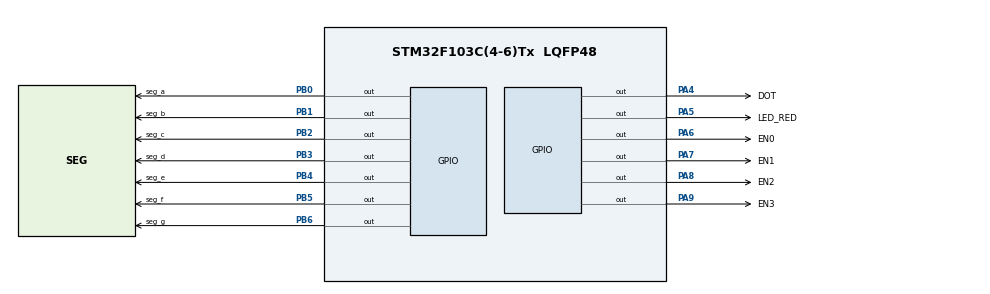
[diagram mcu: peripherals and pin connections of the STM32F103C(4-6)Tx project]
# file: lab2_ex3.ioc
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Mcu.Family=STM32F1
Mcu.Name=STM32F103C(4-6)Tx
Mcu.Package=LQFP48
NVIC.PriorityGroup=NVIC_PRIORITYGROUP_4
NVIC.TIM2_IRQn=true\:0\:0\:false\:false\:true\:true\:true\:true
PA4.GPIO_Label=DOT
PA4.Signal=GPIO_Output
PA5.GPIO_Label=LED_RED
PA5.Signal=GPIO_Output
PA6.GPIO_Label=EN0
PA6.Signal=GPIO_Output
PA7.GPIO_Label=EN1
PA7.Signal=GPIO_Output
PA8.GPIO_Label=EN2
PA8.Signal=GPIO_Output
PA9.GPIO_Label=EN3
PA9.Signal=GPIO_Output
PB0.GPIO_Label=seg_a
PB0.Signal=GPIO_Output
PB1.GPIO_Label=seg_b
PB1.Signal=GPIO_Output
PB2.GPIO_Label=seg_c
PB2.Signal=GPIO_Output
PB3.GPIO_Label=seg_d
PB3.Signal=GPIO_Output
PB4.GPIO_Label=seg_e
PB4.Signal=GPIO_Output
PB5.GPIO_Label=seg_f
PB5.Signal=GPIO_Output
PB6.GPIO_Label=seg_g
PB6.Signal=GPIO_Output
ProjectManager.HeapSize=0x200
ProjectManager.StackSize=0x400
ProjectManager.TargetToolchain=STM32CubeIDE
RCC.APB1Freq_Value=8000000
RCC.APB2Freq_Value=8000000
TIM1.Period=9
TIM1.Prescaler=7999
TIM2.Period=9
TIM2.Prescaler=7999
VP_TIM1_VS_ClockSourceINT.Mode=Internal
VP_TIM2_VS_ClockSourceINT.Mode=Internal
board=custom

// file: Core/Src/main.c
/* USER CODE BEGIN Header */
/**
 ******************************************************************************
 * @file           : main.c
 * @brief          : Main program body
 ******************************************************************************
 * @attention
 *
 * Copyright (c) 2022 STMicroelectronics.
 * All rights reserved.
 *
 * This software is licensed under terms that can be found in the LICENSE file
 * in the root directory of this software component.
 * If no LICENSE file comes with this software, it is provided AS-IS.
 *
 ******************************************************************************
 */
/* USER CODE END Header */
#include "main.h"

/* USER CODE BEGIN Includes */
#include "software_timer.h"
/* USER CODE END Includes */

TIM_HandleTypeDef htim1;
TIM_HandleTypeDef htim2;

void SystemClock_Config(void);
static void MX_GPIO_Init(void);
static void MX_TIM2_Init(void);
static void MX_TIM1_Init(void);
/* USER CODE BEGIN PFP */
void SystemClock_Config(void);
void updateClockBuffer(int , int);
void display7SEG(int);
void update7SEG( int index);
/* USER CODE END PFP */

int main(void)
{

  /* MCU Configuration--------------------------------------------------------*/

  /* Reset of all peripherals, Initializes the Flash interface and the Systick. */
  HAL_Init();

  /* Configure the system clock */
  SystemClock_Config();

  /* Initialize all configured peripherals */
  MX_GPIO_Init();
  MX_TIM2_Init();
  MX_TIM1_Init();
  /* USER CODE BEGIN 2 */
	HAL_TIM_Base_Start_IT (& htim2 );
  /* USER CODE END 2 */

  /* Infinite loop */
  /* USER CODE BEGIN WHILE */
	setTimer1(25);
	int index_led = 0;
	setTimer2(100);
	int hour = 15 , minute = 8 , second = 50;
	while (1)
	{
    /* USER CODE END WHILE */

    /* USER CODE BEGIN 3 */
		if(timer2_flag == 1){
			second ++;
			if ( second >= 60){
				second = 0;
				minute ++;
			}
			if( minute >= 60){
				minute = 0;
				hour ++;
			}
			if( hour >=24){
				hour = 0;
			}
			updateClockBuffer(minute, hour);
			HAL_GPIO_TogglePin(DOT_GPIO_Port, DOT_Pin);
			setTimer2(100);
		}
		if(timer1_flag == 1){
			update7SEG(++index_led);
			index_led %= 4;
			setTimer1(25);
		}
  /* USER CODE END 3 */
}
}x
void SystemClock_Config(void)
{
  RCC_OscInitTypeDef RCC_OscInitStruct = {0};
  RCC_ClkInitTypeDef RCC_ClkInitStruct = {0};

  /** Initializes the RCC Oscillators according to the specified parameters
  * in the RCC_OscInitTypeDef structure.
  */
  RCC_OscInitStruct.OscillatorType = RCC_OSCILLATORTYPE_HSI;
  RCC_OscInitStruct.HSIState = RCC_HSI_ON;
  RCC_OscInitStruct.HSICalibrationValue = RCC_HSICALIBRATION_DEFAULT;
  RCC_OscInitStruct.PLL.PLLState = RCC_PLL_NONE;
  if (HAL_RCC_OscConfig(&RCC_OscInitStruct) != HAL_OK)
  {
    Error_Handler();
  }

  /** Initializes the CPU, AHB and APB buses clocks
  */
  RCC_ClkInitStruct.ClockType = RCC_CLOCKTYPE_HCLK|RCC_CLOCKTYPE_SYSCLK
                              |RCC_CLOCKTYPE_PCLK1|RCC_CLOCKTYPE_PCLK2;
  RCC_ClkInitStruct.SYSCLKSource = RCC_SYSCLKSOURCE_HSI;
  RCC_ClkInitStruct.AHBCLKDivider = RCC_SYSCLK_DIV1;
  RCC_ClkInitStruct.APB1CLKDivider = RCC_HCLK_DIV1;
  RCC_ClkInitStruct.APB2CLKDivider = RCC_HCLK_DIV1;

  if (HAL_RCC_ClockConfig(&RCC_ClkInitStruct, FLASH_LATENCY_0) != HAL_OK)
  {
    Error_Handler();
  }
}

static void MX_TIM1_Init(void)
{

  TIM_ClockConfigTypeDef sClockSourceConfig = {0};
  TIM_MasterConfigTypeDef sMasterConfig = {0};

  htim1.Instance = TIM1;
  htim1.Init.Prescaler = 7999;
  htim1.Init.CounterMode = TIM_COUNTERMODE_UP;
  htim1.Init.Period = 9;
  htim1.Init.ClockDivision = TIM_CLOCKDIVISION_DIV1;
  htim1.Init.RepetitionCounter = 0;
  htim1.Init.AutoReloadPreload = TIM_AUTORELOAD_PRELOAD_DISABLE;
  if (HAL_TIM_Base_Init(&htim1) != HAL_OK)
  {
    Error_Handler();
  }
  sClockSourceConfig.ClockSource = TIM_CLOCKSOURCE_INTERNAL;
  if (HAL_TIM_ConfigClockSource(&htim1, &sClockSourceConfig) != HAL_OK)
  {
    Error_Handler();
  }
  sMasterConfig.MasterOutputTrigger = TIM_TRGO_RESET;
  sMasterConfig.MasterSlaveMode = TIM_MASTERSLAVEMODE_DISABLE;
  if (HAL_TIMEx_MasterConfigSynchronization(&htim1, &sMasterConfig) != HAL_OK)
  {
    Error_Handler();
  }

}

static void MX_TIM2_Init(void)
{

  TIM_ClockConfigTypeDef sClockSourceConfig = {0};
  TIM_MasterConfigTypeDef sMasterConfig = {0};

  htim2.Instance = TIM2;
  htim2.Init.Prescaler = 7999;
  htim2.Init.CounterMode = TIM_COUNTERMODE_UP;
  htim2.Init.Period = 9;
  htim2.Init.ClockDivision = TIM_CLOCKDIVISION_DIV1;
  htim2.Init.AutoReloadPreload = TIM_AUTORELOAD_PRELOAD_DISABLE;
  if (HAL_TIM_Base_Init(&htim2) != HAL_OK)
  {
    Error_Handler();
  }
  sClockSourceConfig.ClockSource = TIM_CLOCKSOURCE_INTERNAL;
  if (HAL_TIM_ConfigClockSource(&htim2, &sClockSourceConfig) != HAL_OK)
  {
    Error_Handler();
  }
  sMasterConfig.MasterOutputTrigger = TIM_TRGO_RESET;
  sMasterConfig.MasterSlaveMode = TIM_MASTERSLAVEMODE_DISABLE;
  if (HAL_TIMEx_MasterConfigSynchronization(&htim2, &sMasterConfig) != HAL_OK)
  {
    Error_Handler();
  }

}

static void MX_GPIO_Init(void)
{
  GPIO_InitTypeDef GPIO_InitStruct = {0};

  /* GPIO Ports Clock Enable */
  __HAL_RCC_GPIOA_CLK_ENABLE();
  __HAL_RCC_GPIOB_CLK_ENABLE();

  /*Configure GPIO pin Output Level */
  HAL_GPIO_WritePin(GPIOA, DOT_Pin|LED_RED_Pin|EN0_Pin|EN1_Pin
                          |EN2_Pin|EN3_Pin, GPIO_PIN_RESET);

  /*Configure GPIO pin Output Level */
  HAL_GPIO_WritePin(GPIOB, seg_a_Pin|seg_b_Pin|seg_c_Pin|seg_d_Pin
                          |seg_e_Pin|seg_f_Pin|seg_g_Pin, GPIO_PIN_RESET);

  /*Configure GPIO pins : DOT_Pin LED_RED_Pin EN0_Pin EN1_Pin
                           EN2_Pin EN3_Pin */
  GPIO_InitStruct.Pin = DOT_Pin|LED_RED_Pin|EN0_Pin|EN1_Pin
                          |EN2_Pin|EN3_Pin;
  GPIO_InitStruct.Mode = GPIO_MODE_OUTPUT_PP;
  GPIO_InitStruct.Pull = GPIO_NOPULL;
  GPIO_InitStruct.Speed = GPIO_SPEED_FREQ_LOW;
  HAL_GPIO_Init(GPIOA, &GPIO_InitStruct);

  /*Configure GPIO pins : seg_a_Pin seg_b_Pin seg_c_Pin seg_d_Pin
                           seg_e_Pin seg_f_Pin seg_g_Pin */
  GPIO_InitStruct.Pin = seg_a_Pin|seg_b_Pin|seg_c_Pin|seg_d_Pin
                          |seg_e_Pin|seg_f_Pin|seg_g_Pin;
  GPIO_InitStruct.Mode = GPIO_MODE_OUTPUT_PP;
  GPIO_InitStruct.Pull = GPIO_NOPULL;
  GPIO_InitStruct.Speed = GPIO_SPEED_FREQ_LOW;
  HAL_GPIO_Init(GPIOB, &GPIO_InitStruct);

}

/* USER CODE BEGIN 4 */

	void display7SEG(int num){
		if(num  == 0){
			HAL_GPIO_WritePin(seg_g_GPIO_Port, seg_g_Pin, GPIO_PIN_SET);
			HAL_GPIO_WritePin(seg_f_GPIO_Port, seg_f_Pin, GPIO_PIN_RESET);
			HAL_GPIO_WritePin(seg_a_GPIO_Port, seg_a_Pin, GPIO_PIN_RESET);
			HAL_GPIO_WritePin(seg_b_GPIO_Port, seg_b_Pin, GPIO_PIN_RESET);
			HAL_GPIO_WritePin(seg_c_GPIO_Port, seg_c_Pin, GPIO_PIN_RESET);
			HAL_GPIO_WritePin(seg_d_GPIO_Port, seg_d_Pin, GPIO_PIN_RESET);
			HAL_GPIO_WritePin(seg_e_GPIO_Port, seg_e_Pin, GPIO_PIN_RESET);

		};
		if(num  == 1){
			HAL_GPIO_WritePin(seg_g_GPIO_Port, seg_g_Pin, GPIO_PIN_SET);
			HAL_GPIO_WritePin(seg_f_GPIO_Port, seg_f_Pin, GPIO_PIN_SET);
			HAL_GPIO_WritePin(seg_a_GPIO_Port, seg_a_Pin, GPIO_PIN_SET);
			HAL_GPIO_WritePin(seg_b_GPIO_Port, seg_b_Pin, GPIO_PIN_RESET);
			HAL_GPIO_WritePin(seg_c_GPIO_Port, seg_c_Pin, GPIO_PIN_RESET);
			HAL_GPIO_WritePin(seg_d_GPIO_Port, seg_d_Pin, GPIO_PIN_SET);
			HAL_GPIO_WritePin(seg_e_GPIO_Port, seg_e_Pin, GPIO_PIN_SET);

		};
		if(num  == 2){
			HAL_GPIO_WritePin(seg_g_GPIO_Port, seg_g_Pin, GPIO_PIN_RESET);
			HAL_GPIO_WritePin(seg_f_GPIO_Port, seg_f_Pin, GPIO_PIN_SET);
			HAL_GPIO_WritePin(seg_a_GPIO_Port, seg_a_Pin, GPIO_PIN_RESET);
			HAL_GPIO_WritePin(seg_b_GPIO_Port, seg_b_Pin, GPIO_PIN_RESET);
			HAL_GPIO_WritePin(seg_c_GPIO_Port, seg_c_Pin, GPIO_PIN_SET);
			HAL_GPIO_WritePin(seg_d_GPIO_Port, seg_d_Pin, GPIO_PIN_RESET);
			HAL_GPIO_WritePin(seg_e_GPIO_Port, seg_e_Pin, GPIO_PIN_RESET);

		};
		if(num  == 3){
			HAL_GPIO_WritePin(seg_g_GPIO_Port, seg_g_Pin, GPIO_PIN_RESET);
			HAL_GPIO_WritePin(seg_f_GPIO_Port, seg_f_Pin, GPIO_PIN_SET);
			HAL_GPIO_WritePin(seg_a_GPIO_Port, seg_a_Pin, GPIO_PIN_RESET);
			HAL_GPIO_WritePin(seg_b_GPIO_Port, seg_b_Pin, GPIO_PIN_RESET);
			HAL_GPIO_WritePin(seg_c_GPIO_Port, seg_c_Pin, GPIO_PIN_RESET);
			HAL_GPIO_WritePin(seg_d_GPIO_Port, seg_d_Pin, GPIO_PIN_RESET);
			HAL_GPIO_WritePin(seg_e_GPIO_Port, seg_e_Pin, GPIO_PIN_SET);

		}
		if(num  == 4){
			HAL_GPIO_WritePin(seg_g_GPIO_Port, seg_g_Pin, GPIO_PIN_RESET);
			HAL_GPIO_WritePin(seg_f_GPIO_Port, seg_f_Pin, GPIO_PIN_RESET);
			HAL_GPIO_WritePin(seg_a_GPIO_Port, seg_a_Pin, GPIO_PIN_SET);
			HAL_GPIO_WritePin(seg_b_GPIO_Port, seg_b_Pin, GPIO_PIN_RESET);
			HAL_GPIO_WritePin(seg_c_GPIO_Port, seg_c_Pin, GPIO_PIN_RESET);
			HAL_GPIO_WritePin(seg_d_GPIO_Port, seg_d_Pin, GPIO_PIN_SET);
			HAL_GPIO_WritePin(seg_e_GPIO_Port, seg_e_Pin, GPIO_PIN_SET);

		};
		if(num  == 5){
			HAL_GPIO_WritePin(seg_g_GPIO_Port, seg_g_Pin, GPIO_PIN_RESET);
			HAL_GPIO_WritePin(seg_f_GPIO_Port, seg_f_Pin, GPIO_PIN_RESET);
			HAL_GPIO_WritePin(seg_a_GPIO_Port, seg_a_Pin, GPIO_PIN_RESET);
			HAL_GPIO_WritePin(seg_b_GPIO_Port, seg_b_Pin, GPIO_PIN_SET);
			HAL_GPIO_WritePin(seg_c_GPIO_Port, seg_c_Pin, GPIO_PIN_RESET);
			HAL_GPIO_WritePin(seg_d_GPIO_Port, seg_d_Pin, GPIO_PIN_RESET);
			HAL_GPIO_WritePin(seg_e_GPIO_Port, seg_e_Pin, GPIO_PIN_SET);

		};
		if(num  == 6){
			HAL_GPIO_WritePin(seg_g_GPIO_Port, seg_g_Pin, GPIO_PIN_RESET);
			HAL_GPIO_WritePin(seg_f_GPIO_Port, seg_f_Pin, GPIO_PIN_RESET);
			HAL_GPIO_WritePin(seg_a_GPIO_Port, seg_a_Pin, GPIO_PIN_RESET);
			HAL_GPIO_WritePin(seg_b_GPIO_Port, seg_b_Pin, GPIO_PIN_SET);
			HAL_GPIO_WritePin(seg_c_GPIO_Port, seg_c_Pin, GPIO_PIN_RESET);
			HAL_GPIO_WritePin(seg_d_GPIO_Port, seg_d_Pin, GPIO_PIN_RESET);
			HAL_GPIO_WritePin(seg_e_GPIO_Port, seg_e_Pin, GPIO_PIN_RESET);

		};
		if(num  == 7){
			HAL_GPIO_WritePin(seg_g_GPIO_Port, seg_g_Pin, GPIO_PIN_SET);
			HAL_GPIO_WritePin(seg_f_GPIO_Port, seg_f_Pin, GPIO_PIN_SET);
			HAL_GPIO_WritePin(seg_a_GPIO_Port, seg_a_Pin, GPIO_PIN_RESET);
			HAL_GPIO_WritePin(seg_b_GPIO_Port, seg_b_Pin, GPIO_PIN_RESET);
			HAL_GPIO_WritePin(seg_c_GPIO_Port, seg_c_Pin, GPIO_PIN_RESET);
			HAL_GPIO_WritePin(seg_d_GPIO_Port, seg_d_Pin, GPIO_PIN_SET);
			HAL_GPIO_WritePin(seg_e_GPIO_Port, seg_e_Pin, GPIO_PIN_SET);

		};
		if(num  == 8){
			HAL_GPIO_WritePin(seg_g_GPIO_Port, seg_g_Pin, GPIO_PIN_RESET);
			HAL_GPIO_WritePin(seg_f_GPIO_Port, seg_f_Pin, GPIO_PIN_RESET);
			HAL_GPIO_WritePin(seg_a_GPIO_Port, seg_a_Pin, GPIO_PIN_RESET);
			HAL_GPIO_WritePin(seg_b_GPIO_Port, seg_b_Pin, GPIO_PIN_RESET);
			HAL_GPIO_WritePin(seg_c_GPIO_Port, seg_c_Pin, GPIO_PIN_RESET);
			HAL_GPIO_WritePin(seg_d_GPIO_Port, seg_d_Pin, GPIO_PIN_RESET);
			HAL_GPIO_WritePin(seg_e_GPIO_Port, seg_e_Pin, GPIO_PIN_RESET);

		}
		if(num  == 9){
			HAL_GPIO_WritePin(seg_g_GPIO_Port, seg_g_Pin, GPIO_PIN_RESET);
			HAL_GPIO_WritePin(seg_f_GPIO_Port, seg_f_Pin, GPIO_PIN_RESET);
			HAL_GPIO_WritePin(seg_a_GPIO_Port, seg_a_Pin, GPIO_PIN_RESET);
			HAL_GPIO_WritePin(seg_b_GPIO_Port, seg_b_Pin, GPIO_PIN_RESET);
			HAL_GPIO_WritePin(seg_c_GPIO_Port, seg_c_Pin, GPIO_PIN_RESET);
			HAL_GPIO_WritePin(seg_d_GPIO_Port, seg_d_Pin, GPIO_PIN_RESET);
			HAL_GPIO_WritePin(seg_e_GPIO_Port, seg_e_Pin, GPIO_PIN_SET);

		};
	};
	const int MAX_LED = 4;
	int led_buffer[4] = {1 , 2 , 3 , 4};
	void updateClockBuffer(int minute, int hour){
		led_buffer[0] = hour/10;
		led_buffer[1] = hour - led_buffer[0] * 10;
		led_buffer[2] = minute/10;
		led_buffer[3] = minute - led_buffer[2] * 10;
	}
	void update7SEG( int index){
		switch(index){
		case 0:
			HAL_GPIO_WritePin(EN0_GPIO_Port, EN0_Pin, GPIO_PIN_RESET);
			HAL_GPIO_WritePin(EN1_GPIO_Port, EN1_Pin, GPIO_PIN_SET);
			HAL_GPIO_WritePin(EN2_GPIO_Port, EN2_Pin, GPIO_PIN_SET);
			HAL_GPIO_WritePin(EN3_GPIO_Port, EN3_Pin, GPIO_PIN_SET);
			display7SEG(led_buffer[0]);
			break;
		case 1:
			HAL_GPIO_WritePin(EN0_GPIO_Port, EN0_Pin, GPIO_PIN_SET);
			HAL_GPIO_WritePin(EN1_GPIO_Port, EN1_Pin, GPIO_PIN_RESET);
			HAL_GPIO_WritePin(EN2_GPIO_Port, EN2_Pin, GPIO_PIN_SET);
			HAL_GPIO_WritePin(EN3_GPIO_Port, EN3_Pin, GPIO_PIN_SET);
			display7SEG(led_buffer[1]);
			break;
		case 2:
			HAL_GPIO_WritePin(EN0_GPIO_Port, EN0_Pin, GPIO_PIN_SET);
			HAL_GPIO_WritePin(EN1_GPIO_Port, EN1_Pin, GPIO_PIN_SET);
			HAL_GPIO_WritePin(EN2_GPIO_Port, EN2_Pin, GPIO_PIN_RESET);
			HAL_GPIO_WritePin(EN3_GPIO_Port, EN3_Pin, GPIO_PIN_SET);
			display7SEG(led_buffer[2]);
			break;
		case 3:
			HAL_GPIO_WritePin(EN0_GPIO_Port, EN0_Pin, GPIO_PIN_SET);
			HAL_GPIO_WritePin(EN1_GPIO_Port, EN1_Pin, GPIO_PIN_SET);
			HAL_GPIO_WritePin(EN2_GPIO_Port, EN2_Pin, GPIO_PIN_SET);
			HAL_GPIO_WritePin(EN3_GPIO_Port, EN3_Pin, GPIO_PIN_RESET);
			display7SEG(led_buffer[3]);
			break;
		default:
			break;
		}

	}

	void HAL_TIM_PeriodElapsedCallback( TIM_HandleTypeDef * htim )
	{
		timerRun();
	}

/* USER CODE END 4 */

void Error_Handler(void)
{
		__disable_irq();
		while (1)
		{
		}
}
